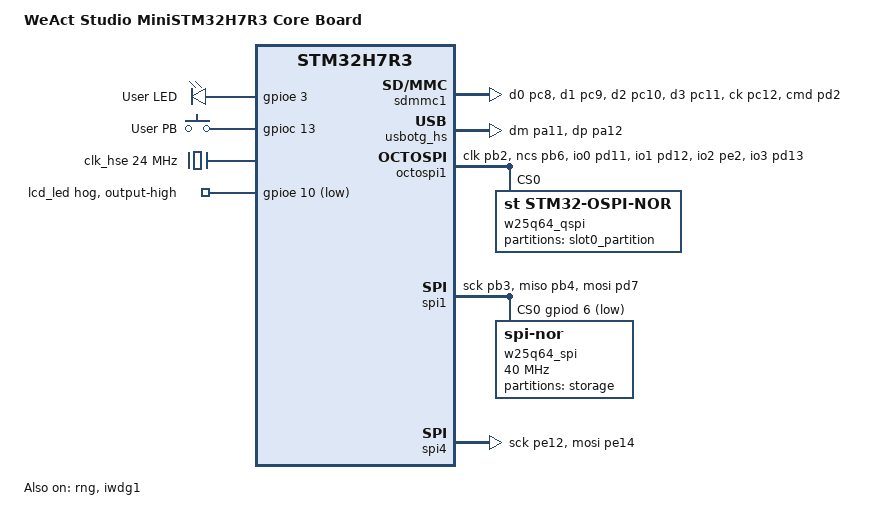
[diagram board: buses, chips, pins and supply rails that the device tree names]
/*
 * Copyright (c) 2025 Michal Piekos
 *
 * SPDX-License-Identifier: Apache-2.0
 */

/dts-v1/;
#include <st/h7/stm32h7r3X8.dtsi>
#include <st/h7/stm32h7r3z8jx-pinctrl.dtsi>
#include <zephyr/dt-bindings/input/input-event-codes.h>

/ {
	model = "WeAct Studio MiniSTM32H7R3 Core Board";
	compatible = "weact,mini-stm32h7r3";

	chosen {
		zephyr,sram = &sram0;
		zephyr,flash = &flash0;
	};

	leds {
		compatible = "gpio-leds";

		user_led: led {
			gpios = <&gpioe 3 GPIO_ACTIVE_HIGH>;
			label = "User LED";
		};
	};

	gpio_keys {
		compatible = "gpio-keys";

		user_button: button {
			label = "User PB";
			gpios = <&gpioc 13 (GPIO_ACTIVE_HIGH | GPIO_PULL_DOWN)>;
			zephyr,code = <INPUT_KEY_0>;
		};
	};

	aliases {
		led0 = &user_led;
		sw0 = &user_button;
		watchdog0 = &iwdg;
		sdhc0 = &sdmmc1;
	};
};

&clk_lsi {
	status = "okay";
};

&clk_hsi48 {
	status = "okay";
};

&clk_hse {
	clock-frequency = <DT_FREQ_M(24)>;
	status = "okay";
};

&pll {
	div-m = <5>;
	mul-n = <112>;
	div-p = <2>;
	div-q = <2>;
	div-r = <2>;
	clocks = <&clk_hse>;
	status = "okay";
};

&rcc {
	clocks = <&pll>;
	clock-frequency = <DT_FREQ_M(280)>;
	d1cpre = <1>;
	hpre = <2>;
	d1ppre = <1>;
	d2ppre1 = <1>;
	d2ppre2 = <1>;
	d3ppre = <1>;
};

&pwr {
	power-supply = "ldo";
};

&sdmmc1 {
	pinctrl-0 = <&sdmmc1_d0_pc8 &sdmmc1_d1_pc9
		     &sdmmc1_d2_pc10 &sdmmc1_d3_pc11
		     &sdmmc1_ck_pc12 &sdmmc1_cmd_pd2>;
	pinctrl-names = "default";
	cd-gpios = <&gpiod 4 (GPIO_ACTIVE_HIGH | GPIO_PULL_UP)>;
	disk-name = "SD";
	status = "okay";
};

zephyr_udc0: &usbotg_hs {
	pinctrl-0 = <&usb_otg_hs_dm_pa11 &usb_otg_hs_dp_pa12>;
	pinctrl-names = "default";
	status = "okay";
};

#include <../boards/common/usb/cdc_acm_serial.dtsi>

&octospi1 {
	pinctrl-names = "default";
	pinctrl-0 = <&octospim_p1_clk_pb2 &octospim_p1_ncs_pb6
		     &octospim_p1_io0_pd11 &octospim_p1_io1_pd12
		     &octospim_p1_io2_pe2 &octospim_p1_io3_pd13>;
	status = "okay";

	w25q64_qspi: ospi-nor-flash@0 {
		compatible = "st,stm32-ospi-nor";
		reg = <0>;
		size = <DT_SIZE_M(64)>; /* 64 Mbits */
		ospi-max-frequency = <40000000>;
		status = "okay";
		spi-bus-width = <4>;
		data-rate = <OSPI_STR_TRANSFER>;
		writeoc = "PP_1_1_4";

		partitions {
			compatible = "fixed-partitions";
			#address-cells = <1>;
			#size-cells = <1>;

			slot0_partition: partition@0 {
				reg = <0x00000000 DT_SIZE_M(64)>;
			};
		};
	};
};

&spi1 {
	pinctrl-0 = <&spi1_sck_pb3 &spi1_miso_pb4 &spi1_mosi_pd7>;
	cs-gpios = <&gpiod 6 GPIO_ACTIVE_LOW>;
	pinctrl-names = "default";
	status = "okay";

	w25q64_spi: spi-nor-flash@0 {
		compatible = "jedec,spi-nor";
		reg = <0>;
		spi-max-frequency = <40000000>;
		size = <DT_SIZE_M(64)>; /* 64 Mbits */
		status = "okay";
		jedec-id = [ef 40 17];
		has-dpd;
		t-enter-dpd = <3500>;
		t-exit-dpd = <3500>;

		partitions {
			compatible = "fixed-partitions";
			#address-cells = <1>;
			#size-cells = <1>;

			storage_partition: partition@0 {
				label = "storage";
				reg = <0x00000000 DT_SIZE_M(64)>;
			};
		};
	};
};

&gpioe {
	status = "okay";

	lcd_led {
		gpio-hog;
		gpios = <10 GPIO_ACTIVE_LOW>;
		output-high;
	};
};

&spi4 {
	pinctrl-0 = <&spi4_sck_pe12 &spi4_mosi_pe14>;
	cs-gpios = <&gpioe 11 GPIO_ACTIVE_LOW>;
	pinctrl-names = "default";
	status = "okay";
};

&rng {
	status = "okay";
};

&backup_sram {
	status = "okay";
};

&iwdg1 {
	status = "okay";
};
